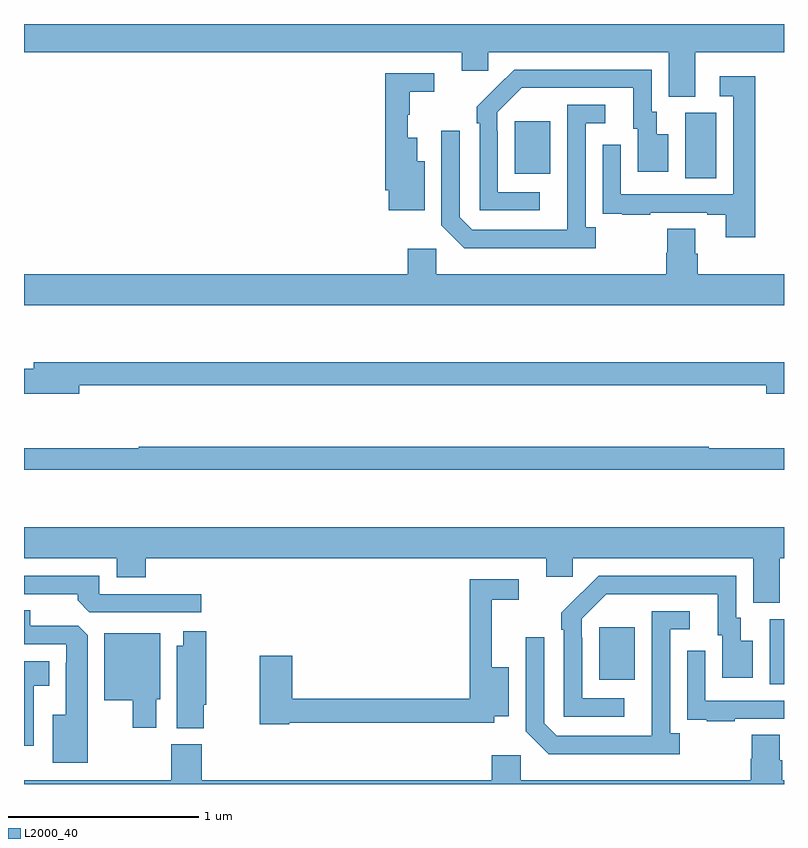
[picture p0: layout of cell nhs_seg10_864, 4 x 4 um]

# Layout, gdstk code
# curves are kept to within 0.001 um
import gdstk
lib = gdstk.Library(unit=1e-6, precision=1e-09)
def R(c, l, rs):  # rectangles x0, y0, x1, y1
    for r in rs: c.add(gdstk.rectangle(r[:2], r[2:], *l))
def P(c, l, *ps):  # polygons
    for p in ps: c.add(gdstk.Polygon(p, *l))
L2000_40 = (2000, 40)

nhs_seg10_864 = lib.new_cell('nhs_seg10_864')
R(nhs_seg10_864, L2000_40, [(158.924,1261.024,159,1261.368), (158.027,1261.049,158.215,1261.324), (158.48,1263.688,158.644,1264.032), (157.583,1263.713,157.771,1263.988)])
P(nhs_seg10_864, L2000_40, [(158.533,1264.352),(159,1264.352),(159,1264.5),(155,1264.5),(155,1264.352),(157.304,1264.352),(157.304,1264.254),(157.443,1264.254),(157.443,1264.352),(158.393,1264.352),(158.393,1264.117),(158.533,1264.117)],
  [(157.714,1263.615),(157.494,1263.615),(157.494,1263.935),(157.491,1263.935),(157.491,1264.035),(157.62,1264.164),(158.207,1264.164),(158.207,1263.948),(158.231,1263.948),(158.231,1263.723),(158.392,1263.723),(158.392,1263.919),(158.329,1263.919),(158.329,1264.038),(158.304,1264.038),(158.304,1264.26),(157.58,1264.26),(157.383,1264.065),(157.383,1263.977),(157.398,1263.977),(157.398,1263.519),(157.714,1263.519)],
  [(157.108,1263.778),(157.069,1263.778),(157.069,1263.901),(157.019,1263.901),(157.019,1264.023),(157.03,1264.023),(157.03,1264.144),(157.159,1264.144),(157.159,1264.242),(156.901,1264.242),(156.901,1263.625),(156.92,1263.625),(156.92,1263.521),(157.108,1263.521)],
  [(158.849,1264.225),(158.661,1264.225),(158.661,1264.119),(158.733,1264.119),(158.733,1263.603),(158.142,1263.603),(158.142,1263.865),(158.046,1263.865),(158.046,1263.61),(158.047,1263.61),(158.047,1263.501),(158.149,1263.501),(158.149,1263.495),(158.297,1263.495),(158.297,1263.507),(158.597,1263.507),(158.597,1263.495),(158.693,1263.495),(158.693,1263.378),(158.849,1263.378)],
  [(158.008,1263.43),(157.956,1263.43),(157.956,1263.978),(158.059,1263.978),(158.059,1264.074),(157.86,1264.074),(157.859,1263.417),(157.359,1263.417),(157.293,1263.483),(157.293,1263.937),(157.197,1263.937),(157.197,1263.441),(157.318,1263.32),(158.008,1263.32)],
  [(159,1263.184),(158.546,1263.184),(158.546,1263.29),(158.533,1263.29),(158.533,1263.422),(158.386,1263.422),(158.386,1263.297),(158.381,1263.297),(158.381,1263.184),(157.17,1263.184),(157.17,1263.316),(157.019,1263.316),(157.019,1263.184),(155,1263.184),(155,1263.02),(159,1263.02)],
  [(155.29,1262.598),(158.906,1262.598),(158.906,1262.555),(159,1262.555),(159,1262.719),(155.051,1262.719),(155.051,1262.685),(155,1262.685),(155,1262.555),(155.29,1262.555)],
  [(159,1262.267),(158.603,1262.267),(158.603,1262.275),(155.603,1262.275),(155.603,1262.267),(155,1262.267),(155,1262.154),(159,1262.154)],
  [(155,1261.688),(155.489,1261.688),(155.489,1261.589),(155.642,1261.589),(155.642,1261.688),(157.748,1261.688),(157.748,1261.59),(157.887,1261.59),(157.887,1261.688),(158.837,1261.688),(158.837,1261.453),(158.977,1261.453),(158.977,1261.688),(159,1261.688),(159,1261.852),(155,1261.852)],
  [(155.932,1261.5),(155.397,1261.5),(155.397,1261.596),(155,1261.596),(155,1261.5),(155.282,1261.5),(155.282,1261.466),(155.343,1261.404),(155.932,1261.404)],
  [(158.158,1260.951),(157.938,1260.951),(157.938,1261.271),(157.935,1261.271),(157.935,1261.371),(158.064,1261.5),(158.651,1261.5),(158.651,1261.284),(158.675,1261.284),(158.675,1261.059),(158.836,1261.059),(158.836,1261.255),(158.773,1261.255),(158.773,1261.374),(158.748,1261.374),(158.748,1261.596),(158.024,1261.596),(157.827,1261.401),(157.827,1261.313),(157.842,1261.313),(157.842,1260.855),(158.158,1260.855)],
  [(156.396,1260.822),(157.476,1260.822),(157.476,1260.857),(157.552,1260.857),(157.552,1261.114),(157.463,1261.114),(157.463,1261.47),(157.603,1261.47),(157.603,1261.578),(157.345,1261.578),(157.345,1260.95),(156.413,1260.95),(156.413,1261.174),(156.242,1261.174),(156.242,1260.814),(156.396,1260.814)],
  [(155.335,1261.283),(155.286,1261.332),(155.032,1261.332),(155.032,1261.415),(155,1261.415),(155,1261.236),(155.223,1261.236),(155.223,1261.139),(155.219,1261.139),(155.219,1260.865),(155.15,1260.865),(155.15,1260.611),(155.335,1260.611)],
  [(158.452,1260.766),(158.4,1260.766),(158.4,1261.314),(158.503,1261.314),(158.503,1261.41),(158.304,1261.41),(158.303,1260.753),(157.803,1260.753),(157.737,1260.819),(157.737,1261.273),(157.641,1261.273),(157.641,1260.777),(157.762,1260.656),(158.452,1260.656)],
  [(155.946,1260.918),(155.959,1260.918),(155.959,1261.303),(155.837,1261.303),(155.837,1261.228),(155.804,1261.228),(155.804,1260.793),(155.946,1260.793)],
  [(155.695,1260.945),(155.716,1260.945),(155.716,1261.294),(155.423,1261.294),(155.423,1260.941),(155.573,1260.941),(155.573,1260.795),(155.695,1260.795)],
  [(158.741,1260.843),(159,1260.843),(159,1260.939),(158.586,1260.939),(158.586,1261.201),(158.49,1261.201),(158.49,1260.946),(158.491,1260.946),(158.491,1260.837),(158.593,1260.837),(158.593,1260.831),(158.741,1260.831)],
  [(155.05,1261.016),(155.134,1261.016),(155.134,1261.147),(155,1261.147),(155,1260.702),(155.05,1260.702)],
  [(159,1260.52),(158.99,1260.52),(158.99,1260.626),(158.977,1260.626),(158.977,1260.758),(158.83,1260.758),(158.83,1260.633),(158.825,1260.633),(158.825,1260.52),(157.614,1260.52),(157.614,1260.652),(157.463,1260.652),(157.463,1260.52),(155.936,1260.52),(155.936,1260.708),(155.776,1260.708),(155.776,1260.52),(155,1260.52),(155,1260.5),(159,1260.5)])

lib.write_gds('nhs_seg10_864.gds')
